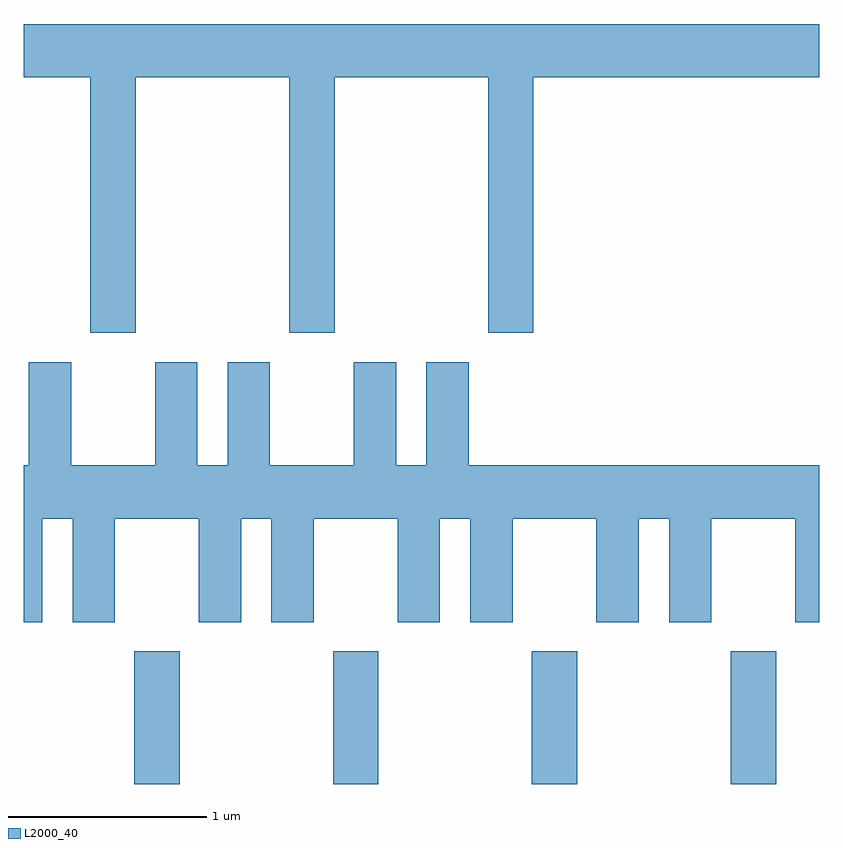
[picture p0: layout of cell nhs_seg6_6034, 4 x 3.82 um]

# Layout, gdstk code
import gdstk
lib = gdstk.Library(unit=1e-6, precision=1e-09)
def R(c, l, rs):  # rectangles x0, y0, x1, y1
    for r in rs: c.add(gdstk.rectangle(r[:2], r[2:], *l))
def A(c, l, x, y, w, h, nx, ny, dx, dy):  # array of equal rectangles
    R(c, l, [(x+i*dx, y+j*dy, x+i*dx+w, y+j*dy+h) for i in range(nx) for j in range(ny)])
def P(c, l, *ps):  # polygons
    for p in ps: c.add(gdstk.Polygon(p, *l))
L2000_40 = (2000, 40)

nhs_seg6_6034 = lib.new_cell('nhs_seg6_6034')
A(nhs_seg6_6034, L2000_40, 368.166, 1644.162, 0.228, 0.667, 4, 1, 1, 0)
P(nhs_seg6_6034, L2000_40, [(368.174,1647.716),(368.946,1647.716),(368.946,1646.431),(369.174,1646.431),(369.174,1647.716),(369.946,1647.716),(369.946,1646.431),(370.174,1646.431),(370.174,1647.716),(371.611,1647.716),(371.611,1647.984),(367.611,1647.984),(367.611,1647.716),(367.946,1647.716),(367.946,1646.431),(368.174,1646.431)],
  [(367.704,1645.496),(367.856,1645.496),(367.856,1644.976),(368.069,1644.976),(368.069,1645.496),(368.491,1645.496),(368.491,1644.976),(368.704,1644.976),(368.704,1645.496),(368.856,1645.496),(368.856,1644.976),(369.069,1644.976),(369.069,1645.496),(369.491,1645.496),(369.491,1644.976),(369.704,1644.976),(369.704,1645.496),(369.856,1645.496),(369.856,1644.976),(370.069,1644.976),(370.069,1645.496),(370.491,1645.496),(370.491,1644.976),(370.704,1644.976),(370.704,1645.496),(370.856,1645.496),(370.856,1644.976),(371.069,1644.976),(371.069,1645.496),(371.491,1645.496),(371.491,1644.976),(371.611,1644.976),(371.611,1645.764),(369.849,1645.764),(369.849,1646.284),(369.636,1646.284),(369.636,1645.764),(369.484,1645.764),(369.484,1646.284),(369.271,1646.284),(369.271,1645.764),(368.849,1645.764),(368.849,1646.284),(368.636,1646.284),(368.636,1645.764),(368.484,1645.764),(368.484,1646.284),(368.271,1646.284),(368.271,1645.764),(367.849,1645.764),(367.849,1646.284),(367.636,1646.284),(367.636,1645.764),(367.611,1645.764),(367.611,1644.976),(367.704,1644.976)])

lib.write_gds('nhs_seg6_6034.gds')
